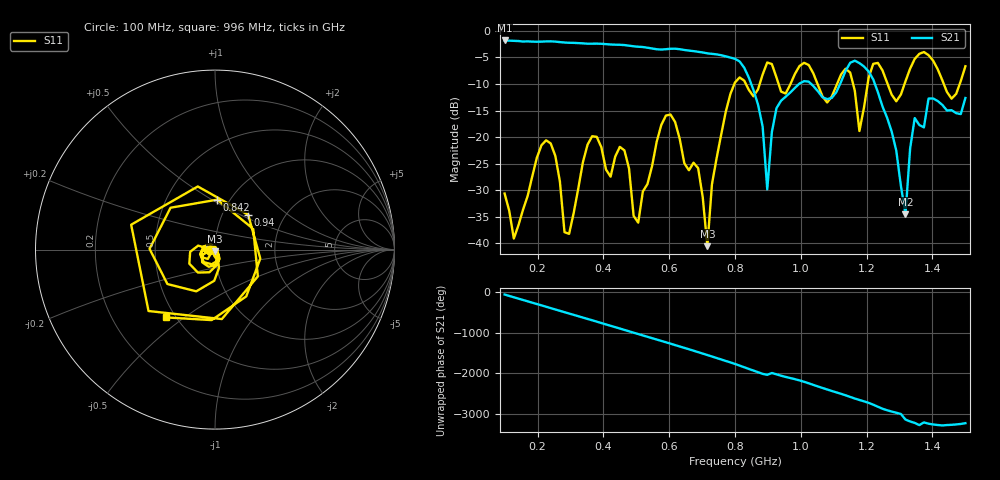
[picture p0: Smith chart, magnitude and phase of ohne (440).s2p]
! NanoVNA-App
! Date: 2025-09-25 14:24:13
! Start: 100MHz Stop: 1,5GHz Points: 101
! S-Parameter data: F S11 S21 S12 S22
# Hz S RI R 50
!  Frequency  S11_Real  S11_Imag  S21_Real  S21_Imag  S12_Real  S12_Imag  S22_Real  S22_Imag
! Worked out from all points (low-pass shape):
!   101 points, 100 MHz to 1.5 GHz, reference 50 ohm
!   highest |S21| = -1.79 dB at 100 MHz (marker M1); lowest = -34.5 dB at 1.318 GHz (marker M2)
!   |S21| within 3 dB of the highest: start of sweep to 772.3 MHz
!   lowest |S11| = -40.5 dB at 716 MHz (marker M3), VSWR 1.02, Z = 49.9 - j0.926 ohm
!   |S11| at or under -10 dB: start of sweep to 798.1 MHz; 833.1 MHz to 875 MHz (41.91 MHz wide, 4.91 % of centre); 1.051 GHz to 1.11 GHz (59.28 MHz wide, 5.49 % of centre) (the widest 3 of 7)
!   S12 and S22 are empty: the file has one direction only
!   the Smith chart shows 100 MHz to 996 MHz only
!   S11 on the Smith chart (normalised r, x): 100 MHz: 0.94, -0.01; 842 MHz: 0.88, +0.53; 940 MHz: 1.32, +0.55; 996 MHz: 0.44, -0.43
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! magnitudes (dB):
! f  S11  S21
! 100 MHz  -30.6  -1.8
! 128 MHz  -39.1  -1.9
! 226 MHz  -20.6  -2.0
! 296 MHz  -38.2  -2.2
! 338 MHz  -24.7  -2.3
! 464 MHz  -22.5  -2.7
! 506 MHz  -36.1  -3.0
! 576 MHz  -17.7  -3.5
! 688 MHz  -25.8  -3.9
! 716 MHz  -40.5  -4.2
! 800 MHz  -9.7  -5.3
! 842 MHz  -11.1  -8.8
! 898 MHz  -5.9  -29.8
! 940 MHz  -11.4  -13.1
! 996 MHz  -6.6  -9.9
! 1.038 GHz  -8.0  -10.4
! 1.178 GHz  -18.9  -6.1
! 1.22 GHz  -6.2  -9.1
! 1.276 GHz  -12.0  -18.9
! 1.318 GHz  -9.5  -34.5
! 1.346 GHz  -5.3  -16.4
! 1.5 GHz  -6.7  -12.6
